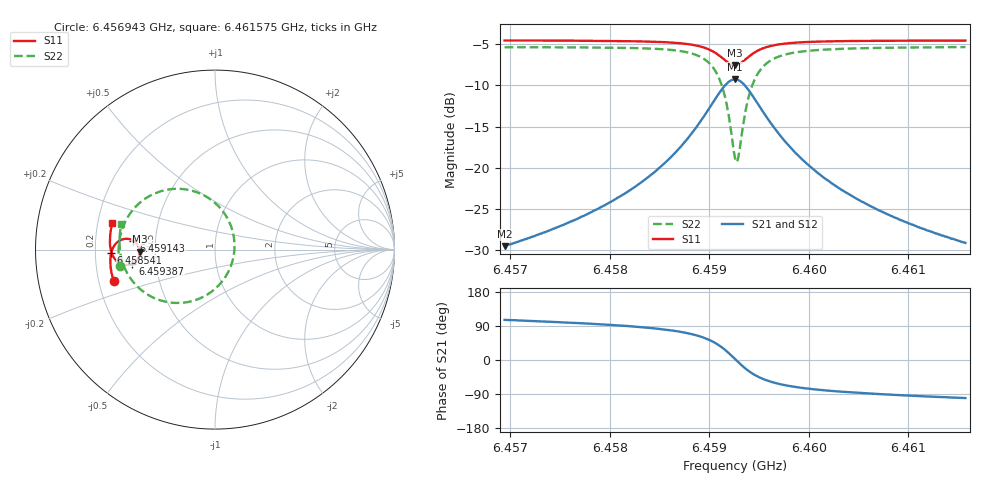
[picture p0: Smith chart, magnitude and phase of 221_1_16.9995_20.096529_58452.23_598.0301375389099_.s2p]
#  HZ  S  RI  R  50.00
! Rohde & Schwarz Vector Network Analyzer
! Rohde-Schwarz,ZNB20-2Port,1311601062101988,3.16
! Created: UTC 3/20/2024, 11:01:58 PM
! freq[Hz]  re:S11  im:S11  re:S21  im:S21  re:S12  im:S12  re:S22  im:S22
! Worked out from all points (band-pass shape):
!   401 points, 6.456943 GHz to 6.461575 GHz, reference 50 ohm
!   highest |S21| = -9.28 dB at 6.459259 GHz (marker M1); lowest = -29.5 dB at 6.456943 GHz (marker M2)
!   |S21| within 3 dB of the highest: 6.459027 GHz to 6.459491 GHz (463.7 kHz wide, 0.00718 % of centre)
!   lowest |S11| = -7.6 dB at 6.459259 GHz (marker M3), VSWR 2.44, Z = 20.5 - j0.608 ohm
!   |S11| at or under -10 dB: nowhere
!   |S22| runs from -19.3 to -5.4 dB; largest |S21 - S12| = 0.013
!   S11 on the Smith chart (normalised r, x): 6.456943 GHz: 0.26, -0.14; 6.458541 GHz: 0.27, -0.01; 6.459143 GHz: 0.37, +0.05; 6.459387 GHz: 0.37, -0.07; 6.461575 GHz: 0.26, +0.12
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6.4569435e9  -0.5654 -0.1758  -0.00913 0.0321  -0.0075 0.0322  -0.5307 -0.0913
6.4577192e9  -0.58 -0.1083  -0.00598 0.0501  -0.0034 0.0496  -0.5374 -0.000896
6.4581476e9  -0.5832 -0.0655  -9.95e-05 0.0694  0.00308 0.0682  -0.5299 0.0667
6.458495e9  -0.5797 -0.024  0.0134 0.0984  0.0175 0.0958  -0.5052 0.1447
6.4585413e9  -0.5783 -0.0177  0.0169 0.1038  0.021 0.1008  -0.4989 0.1579
6.4587497e9  -0.5662 0.0142  0.0427 0.1355  0.0469 0.1308  -0.4507 0.2296
6.4589002e9  -0.545 0.0405  0.0851 0.1658  0.0885 0.1594  -0.3724 0.2941
6.4590508e9  -0.499 0.0603  0.1766 0.1852  0.1776 0.1779  -0.2053 0.3388
6.4591434e9  -0.4545 0.0502  0.2664 0.1545  0.2665 0.1486  -0.0392 0.2895
6.4591897e9  -0.4335 0.0314  0.3101 0.1119  0.3113 0.1066  0.0435 0.2137
6.4592592e9  -0.4186 -0.0122  0.3432 0.0156  0.3469 0.00868  0.1086 0.0351
6.4592708e9  -0.4191 -0.0203  0.3432 -0.00219  0.347 -0.00962  0.1084 0.00168
6.4592939e9  -0.4225 -0.0359  0.3377 -0.0366  0.3417 -0.0456  0.0976 -0.0636
6.4593865e9  -0.46 -0.0781  0.268 -0.1372  0.2672 -0.1502  -0.0433 -0.2508
6.4594329e9  -0.4828 -0.0848  0.2238 -0.1596  0.2202 -0.1724  -0.1317 -0.2878
6.4594908e9  -0.5076 -0.0842  0.1749 -0.1691  0.1685 -0.1801  -0.2283 -0.2968
6.4596413e9  -0.5489 -0.0626  0.092 -0.1532  0.0837 -0.159  -0.3854 -0.244
6.4598034e9  -0.5692 -0.035  0.0497 -0.1259  0.0423 -0.1285  -0.4613 -0.1734
6.4600349e9  -0.581 -0.00136  0.0226 -0.0964  0.0169 -0.0972  -0.5059 -0.0962
6.4603939e9  -0.5856 0.0409  0.00619 -0.0693  0.00229 -0.0689  -0.5281 -0.0152
6.4608107e9  -0.5839 0.0827  -0.0012 -0.0515  -0.00401 -0.0508  -0.5322 0.0509
6.4615749e9  -0.5718 0.1503  -0.00631 -0.0344  -0.00801 -0.0335  -0.5214 0.1408
